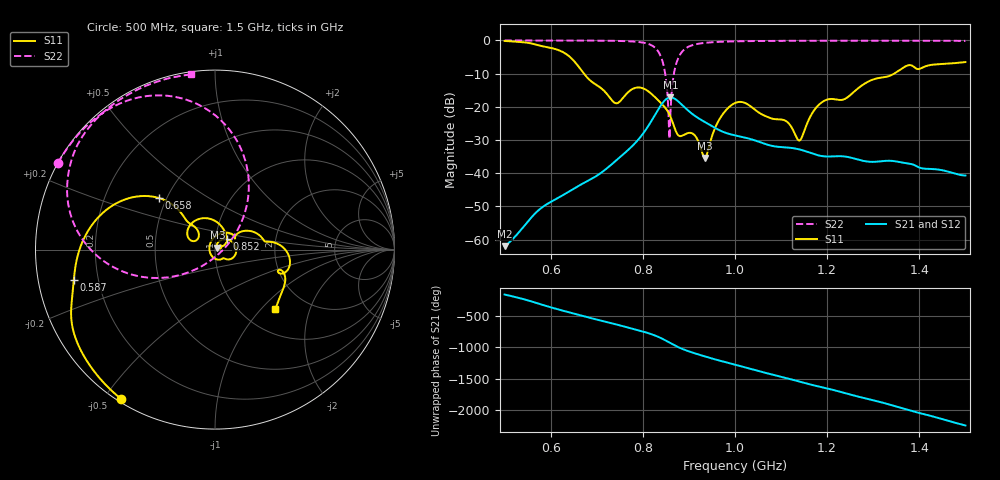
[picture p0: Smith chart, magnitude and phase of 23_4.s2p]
! TOUCHSTONE file generated by CST MICROWAVE STUDIO
! Date and time: Wed Oct 28 19:17:47 2020
! Project name: Scenario_1_Circular_Tissue_out_of_Line.cst
! Parameters = {dy1=35.502; L_HA=400; MT=2.54; Rad_Dielectric=30; Rad_Lower=7.3; Rad_Upper=30; a_HA=580; a_WG=246; b_HA=500; b_WG=121; c_HA=0; c_WG=187; d_feed=85; dx1=693; h_feed=15; h_lower=18; h_upper=40}
! Header version: 2018
! Port assignment regex: !\s*Touchstone port\s*([0-9]+)\s*=\s*(CST MWS port|CST DS port)\s*([0-9]+|Zmin|Zmax)\s*\(\"(.*)\"\)(\s*mode\s*([0-9]+))?.*
! Touchstone port assignment:
! Touchstone port 1 = CST MWS port 1 ("")
! Touchstone port 2 = CST MWS port 2 ("")
# GHz S DB R 50
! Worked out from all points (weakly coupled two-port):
!   1001 points, 500 MHz to 1.5 GHz, reference 50 ohm
!   highest |S21| = -17.16 dB at 860 MHz (marker M1); lowest = -62.0 dB at 500 MHz (marker M2)
!   lowest |S11| = -35.4 dB at 935 MHz (marker M3), VSWR 1.03, Z = 51.3 + j1.11 ohm
!   |S11| at or under -10 dB: 672.2 MHz to 1.345 GHz (673.2 MHz wide, 66.7 % of centre)
!   |S22| runs from -29.6 to 0.0 dB; largest |S21 - S12| = 9.3e-06
!   S11 on the Smith chart (normalised r, x): 500 MHz: 0.01, -0.55; 587 MHz: 0.11, -0.11; 658 MHz: 0.45, +0.32; 852 MHz: 1.13, +0.14; 1.5 GHz: 1.41, -1.20
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0.5  -0.16 -122.3  -61.95 -166.7  -61.95 -166.7  -0.01 151.1
0.587  -1.89 -167.8  -49.72 19.1  -49.72 19.1  -0.02 145.1
0.658  -7.42 137.4  -43.99 -124.7  -43.99 -124.7  -0.04 139.2
0.667  -9.07 133.6  -43.30 -142.3  -43.30 -142.3  -0.04 138.4
0.74  -18.86 144.0  -36.39 83.8  -36.39 83.8  -0.13 129.3
0.779  -14.52 144.0  -31.54 8.1  -31.54 8.1  -0.32 120.6
0.834  -18.13 68.0  -20.67 -119.7  -20.67 -119.7  -3.46 83.0
0.845  -19.71 53.5  -18.45 -158.7  -18.45 -158.7  -7.50 63.5
0.852  -20.92 43.0  -17.54 173.7  -17.54 173.7  -13.90 45.0
0.856  -21.82 36.6  -17.25 157.4  -17.25 157.4  -23.29 18.2
0.86  -22.98 30.7  -17.16 141.1  -17.16 141.1  -21.46 -120.0
0.868  -26.00 24.6  -17.48 109.7  -17.48 109.7  -9.59 -151.7
0.88  -28.82 36.3  -18.75 67.8  -18.75 67.8  -4.45 -172.1
0.91  -28.23 22.0  -22.42 -13.0  -22.42 -13.0  -1.32 162.4
0.935  -35.40 39.4  -24.61 -69.5  -24.61 -69.5  -0.73 152.7
0.965  -24.03 57.2  -26.95 -132.1  -26.95 -132.1  -0.43 145.8
1  -18.85 11.8  -28.60 160.9  -28.60 160.9  -0.27 140.2
1.11  -24.22 -65.8  -32.21 -49.0  -32.21 -49.0  -0.12 128.8
1.139  -30.15 -168.4  -32.79 -106.6  -32.79 -106.6  -0.11 126.4
1.167  -22.04 83.8  -34.02 -160.5  -34.02 -160.5  -0.09 124.2
1.334  -10.73 8.6  -36.23 -110.2  -36.23 -110.2  -0.09 111.4
1.5  -6.51 -44.7  -40.68 -84.2  -40.68 -84.2  -0.13 97.8
